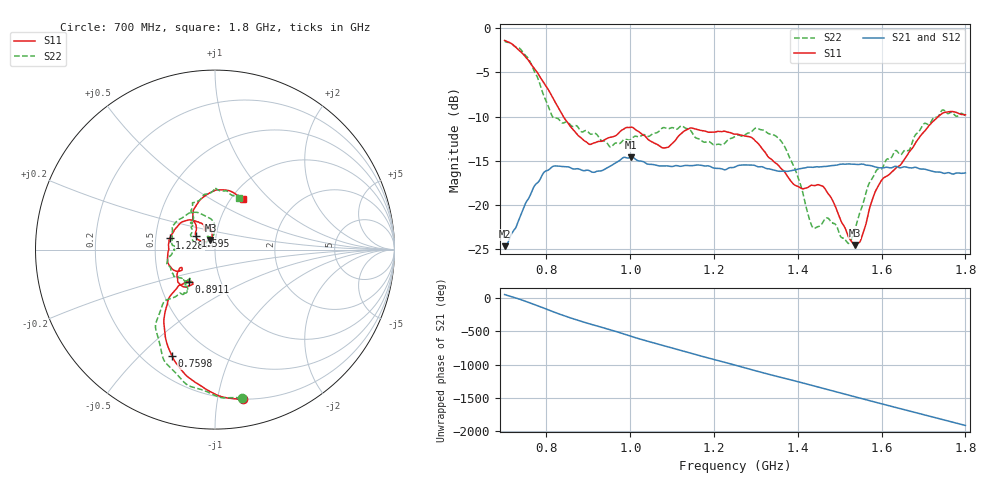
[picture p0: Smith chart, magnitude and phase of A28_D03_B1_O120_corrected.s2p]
! Created with skrf 1.9.0 (http://scikit-rf.org).
# Hz S RI R 50.0
!freq ReS11 ImS11 ReS21 ImS21 ReS12 ImS12 ReS22 ImS22
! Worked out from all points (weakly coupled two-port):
!   1601 points, 700 MHz to 1.8 GHz, reference 50 ohm
!   highest |S21| = -14.59 dB at 1.002 GHz (marker M1); lowest = -24.6 dB at 701.4 MHz (marker M2)
!   lowest |S11| = -24.5 dB at 1.535 GHz (marker M3), VSWR 1.13, Z = 47.2 + j5.12 ohm
!   |S11| at or under -10 dB: 840.1 MHz to 1.735 GHz (895.3 MHz wide, 69.5 % of centre)
!   |S22| runs from -24.3 to -1.5 dB; largest |S21 - S12| = 0.0035
!   S11 on the Smith chart (normalised r, x): 700 MHz: 0.20, -1.19; 759.8 MHz: 0.31, -0.63; 891.1 MHz: 0.70, -0.27; 1.228 GHz: 0.59, +0.08; 1.595 GHz: 0.80, +0.13; 1.8 GHz: 1.13, +0.71
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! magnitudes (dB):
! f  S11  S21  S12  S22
! 700 MHz  -1.4  -24.6  -24.4  -1.5
! 701.4 MHz  -1.4  -24.6  -24.3  -1.6
! 759.8 MHz  -3.9  -19.0  -18.9  -3.7
! 814.8 MHz  -7.9  -15.6  -15.7  -10.0
! 883.6 MHz  -12.4  -16.0  -15.9  -11.7
! 891.1 MHz  -12.8  -16.1  -16.1  -11.6
! 952.3 MHz  -12.3  -15.6  -15.6  -13.4
! 1.002 GHz  -11.2  -14.6  -14.7  -12.5
! 1.067 GHz  -13.2  -15.6  -15.5  -11.7
! 1.228 GHz  -11.7  -16.0  -15.9  -12.9
! 1.25 GHz  -12.0  -15.7  -15.6  -12.2
! 1.357 GHz  -15.7  -16.2  -16.1  -12.6
! 1.396 GHz  -17.8  -16.0  -16.0  -16.2
! 1.434 GHz  -17.7  -15.7  -15.7  -22.4
! 1.464 GHz  -18.1  -15.6  -15.6  -21.6
! 1.52 GHz  -23.4  -15.3  -15.4  -24.3
! 1.535 GHz  -24.5  -15.4  -15.4  -22.9
! 1.569 GHz  -20.8  -15.5  -15.5  -17.7
! 1.595 GHz  -17.6  -15.8  -15.8  -15.9
! 1.617 GHz  -16.6  -15.8  -15.7  -14.8
! 1.74 GHz  -9.8  -16.3  -16.3  -9.6
! 1.8 GHz  -9.8  -16.4  -16.4  -9.9
